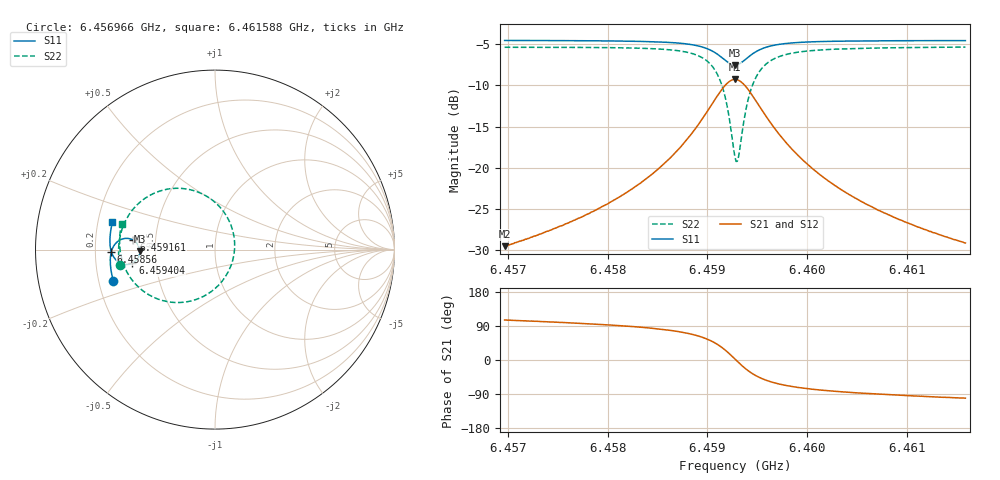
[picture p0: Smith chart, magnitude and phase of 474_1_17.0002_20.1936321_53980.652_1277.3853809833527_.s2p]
#  HZ  S  RI  R  50.00
! Rohde & Schwarz Vector Network Analyzer
! Rohde-Schwarz,ZNB20-2Port,1311601062101988,3.16
! Created: UTC 3/20/2024, 11:13:17 PM
! freq[Hz]  re:S11  im:S11  re:S21  im:S21  re:S12  im:S12  re:S22  im:S22
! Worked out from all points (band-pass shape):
!   401 points, 6.456966 GHz to 6.461588 GHz, reference 50 ohm
!   highest |S21| = -9.28 dB at 6.459277 GHz (marker M1); lowest = -29.5 dB at 6.456966 GHz (marker M2)
!   |S21| within 3 dB of the highest: 6.459045 GHz to 6.459508 GHz (463.1 kHz wide, 0.00717 % of centre)
!   lowest |S11| = -7.6 dB at 6.459277 GHz (marker M3), VSWR 2.44, Z = 20.5 - j0.504 ohm
!   |S11| at or under -10 dB: nowhere
!   |S22| runs from -19.2 to -5.4 dB; largest |S21 - S12| = 0.014
!   S11 on the Smith chart (normalised r, x): 6.456966 GHz: 0.26, -0.14; 6.45856 GHz: 0.27, -0.01; 6.459161 GHz: 0.37, +0.05; 6.459404 GHz: 0.37, -0.07; 6.461588 GHz: 0.26, +0.12
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6.4569656e9  -0.5664 -0.1729  -0.00899 0.0322  -0.00725 0.0323  -0.5315 -0.0859
6.4577398e9  -0.5806 -0.1054  -0.00558 0.0501  -0.0032 0.0495  -0.5373 0.00424
6.4581789e9  -0.5835 -0.0613  0.000463 0.0702  0.0037 0.0689  -0.5288 0.0739
6.458514e9  -0.5799 -0.0214  0.0141 0.0983  0.018 0.0956  -0.5041 0.1494
6.4585602e9  -0.5784 -0.015  0.0174 0.1037  0.0213 0.1006  -0.4976 0.1625
6.4587682e9  -0.5662 0.0166  0.0434 0.1352  0.0476 0.1304  -0.4489 0.234
6.4589184e9  -0.5451 0.0429  0.0859 0.1654  0.0892 0.1588  -0.3706 0.2979
6.4590686e9  -0.4991 0.0624  0.1774 0.1842  0.1784 0.1769  -0.2034 0.3416
6.4591611e9  -0.4548 0.0523  0.2668 0.1533  0.267 0.1473  -0.0376 0.2918
6.4592073e9  -0.4337 0.0337  0.3102 0.1105  0.3114 0.1053  0.0447 0.216
6.4592766e9  -0.419 -0.0101  0.3432 0.0143  0.3469 0.00734  0.1095 0.0372
6.4592882e9  -0.4195 -0.0182  0.3431 -0.00335  0.3469 -0.0109  0.1092 0.00391
6.4593113e9  -0.4229 -0.0337  0.3376 -0.0378  0.3415 -0.0469  0.0983 -0.0617
6.4593575e9  -0.4384 -0.0596  0.3093 -0.0974  0.3115 -0.1091  0.0413 -0.1742
6.4594037e9  -0.4603 -0.0757  0.2678 -0.1382  0.2668 -0.1513  -0.0432 -0.2489
6.4594961e9  -0.5034 -0.0824  0.1833 -0.1693  0.1774 -0.1808  -0.211 -0.295
6.4596464e9  -0.5471 -0.062  0.0959 -0.1556  0.0874 -0.1618  -0.3779 -0.2461
6.4598081e9  -0.5684 -0.0343  0.0513 -0.128  0.0436 -0.1308  -0.4581 -0.1745
6.4600508e9  -0.5811 0.00126  0.0222 -0.0967  0.0164 -0.0973  -0.5059 -0.0921
6.4603859e9  -0.5854 0.041  0.00664 -0.0706  0.00244 -0.0703  -0.527 -0.0155
6.460825e9  -0.5837 0.0851  -0.00154 -0.0516  -0.0043 -0.0507  -0.5315 0.0548
6.4615876e9  -0.5712 0.1526  -0.0065 -0.0344  -0.00815 -0.0335  -0.5201 0.1445
